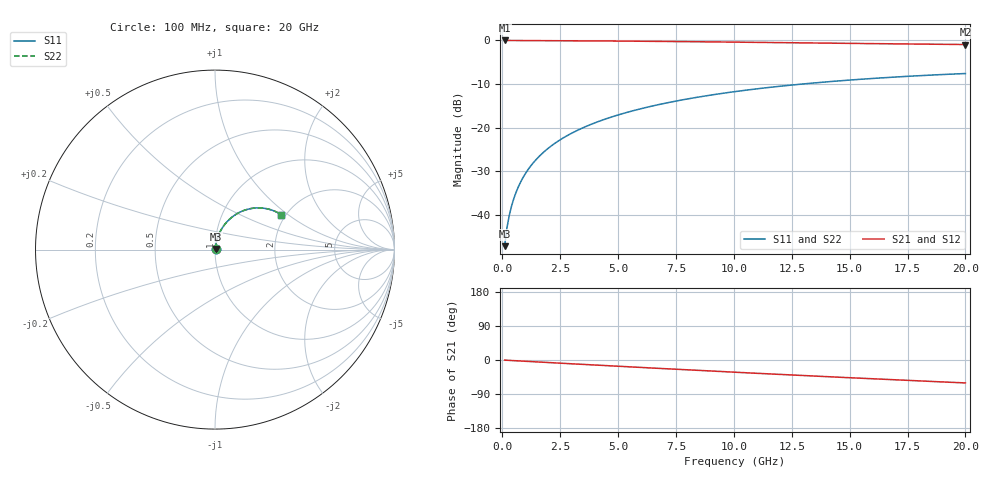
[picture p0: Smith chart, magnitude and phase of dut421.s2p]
! Touchstone file exported from HFSS 2026.1.0
!  File:  C:/ffzhzh/LocalFiles/Ansys_Project_Files/temp_train_BSMRDL_421_1783012720_46388.aedt
!  Generated:  01:20:21 AM Jul  3, 2026
!  Design:  BSMRDL
!  Project:  temp_train_BSMRDL_421_1783012720_46388
! Variables:
!  h_bsmrdl = 5.4um
!  h_ox = 20um
!  h_rdl = 5um
!  h_sub = 80um
!  h_tmrdl = 5um
!  h_tsv = 80um
!  h_via = 3um
!  l_bsmrdl = 998.63um
!  l_sub = 1398.63um
!  l_tmrdl = 200um
!  m_sub = 200um
!  pitch = 46.84um
!  r_tsv = 6um
!  s_tmrdl = 10um
!  w_bsmrdl = 24um
!  w_sub = 500um
!  w_tmrdl = 12um
!  x_tsv_center1 = 206um
!  x_tsv_center2 = 1228.63um
!  x_tsv_center3 = 1440.63um
!  x_tsv_center4 = 2463.26um
!  x_tsv_center5 = 2675.26um
!  x_tsv_center6 = 3697.89um
# GHz S MA R 50.000000
! Terminal data exported
! Port[1] = BSM_RDL1_1_T1
! Port[2] = BSM_RDL1_1_T2
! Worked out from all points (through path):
!   200 points, 100 MHz to 20 GHz, reference 50 ohm
!   highest |S21| = -0.03 dB at 100 MHz (marker M1); lowest = -1.0 dB at 20 GHz (marker M2)
!   group delay of S21, straight-line fit = 8.4 ps
!   lowest |S11| = -47.1 dB at 100 MHz (marker M3), VSWR 1.01, Z = 50.3 + j0.328 ohm
!   |S11| at or under -10 dB: start of sweep to 12.95 GHz
!   |S22| runs from -47.1 to -7.6 dB; largest |S21 - S12| = 1.1e-14
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0.1  0.004408 47.7  0.997 -0.4  0.997 -0.4  0.004408 47.7
! Gamma 0 0 0 0
! Port Impedance 50 0 50 0
0.2  0.007107 62.6  0.9968 -0.7  0.9968 -0.7  0.007107 62.6
0.3  0.00989 68.9  0.9966 -1.0  0.9966 -1.0  0.00989 68.9
0.4  0.0127 72.5  0.9964 -1.4  0.9964 -1.4  0.0127 72.5
0.5  0.01553 74.8  0.9963 -1.7  0.9963 -1.7  0.01553 74.8
0.6  0.01838 76.3  0.9962 -2.0  0.9962 -2.0  0.01838 76.3
0.8  0.02414 78.1  0.9959 -2.7  0.9959 -2.7  0.02414 78.1
1.1  0.0328 79.1  0.9954 -3.7  0.9954 -3.7  0.0328 79.1
1.5  0.04434 79.2  0.9946 -5.1  0.9946 -5.1  0.04435 79.2
1.8  0.05295 78.8  0.9939 -6.1  0.9939 -6.1  0.05295 78.8
2.1  0.06148 78.2  0.9931 -7.1  0.9931 -7.1  0.06148 78.2
2.7  0.07833 76.7  0.9912 -9.1  0.9912 -9.1  0.07833 76.7
3.5  0.1003 74.5  0.9883 -11.7  0.9883 -11.7  0.1003 74.5
4.2  0.1191 72.4  0.9854 -13.9  0.9854 -13.9  0.1191 72.4
5  0.14 70.1  0.9819 -16.5  0.9819 -16.5  0.14 70.1
5.9  0.1628 67.4  0.9776 -19.4  0.9776 -19.4  0.1629 67.4
6.8  0.185 64.7  0.973 -22.2  0.973 -22.2  0.1851 64.8
8.3  0.2204 60.3  0.9647 -26.9  0.9647 -26.9  0.2205 60.3
10.1  0.2601 55.1  0.9541 -32.4  0.9541 -32.4  0.2601 55.1
13.4  0.3242 45.7  0.9334 -42.2  0.9334 -42.2  0.3243 45.7
16.7  0.3766 36.6  0.9132 -51.5  0.9132 -51.5  0.3766 36.6
20  0.4172 27.8  0.8954 -60.5  0.8954 -60.5  0.4173 27.8
